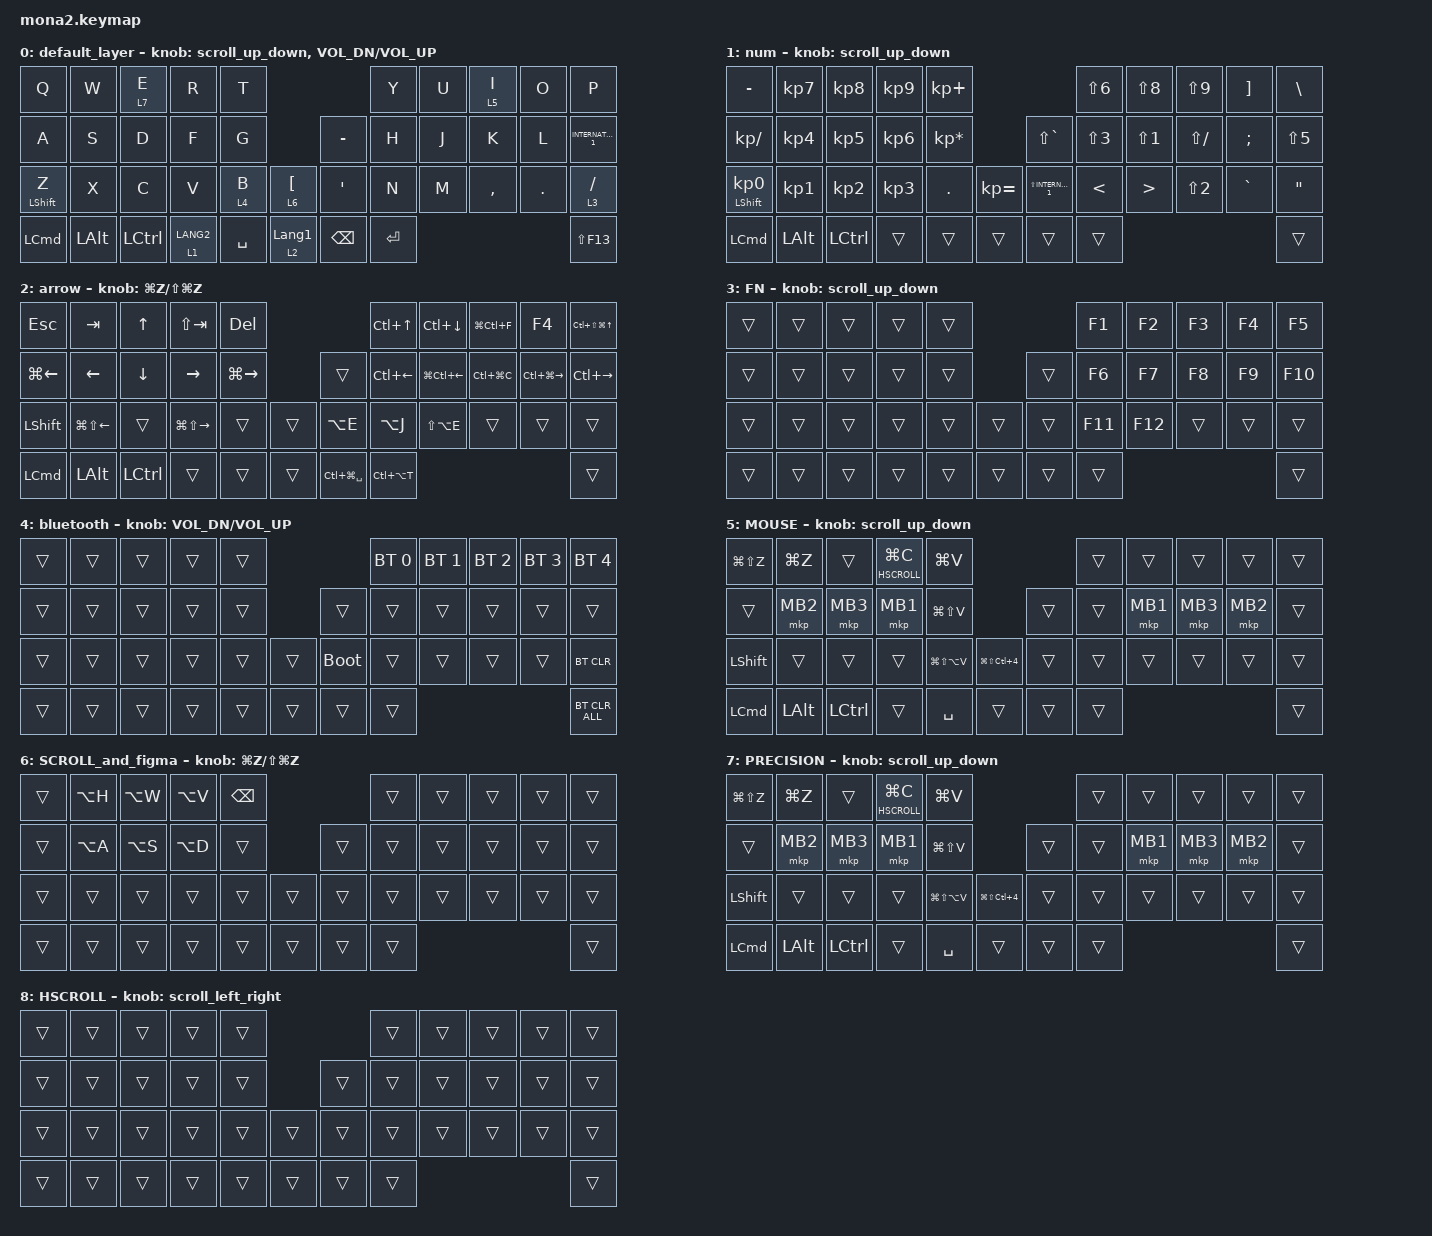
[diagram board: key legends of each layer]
#include <behaviors.dtsi>
#include <dt-bindings/zmk/bt.h>
#include <dt-bindings/zmk/keys.h>
#include <dt-bindings/zmk/pointing.h>

#define ZMK_POINTING_DEFAULT_SCRL_VAL 100
#define MOUSE 5
#define SCROLL 6
#define PRECISION 7
#define HSCROLL 8

&mt {
    flavor = "balanced";
    quick-tap-ms = <0>;
};

&lt {
    tapping-term-ms = <280>;
    flavor = "balanced";
    quick-tap-ms = <200>;
};

/ {
    combos { compatible = "zmk,combos"; };

    macros {
        to_layer_0: to_layer_0 {
            compatible = "zmk,behavior-macro-one-param";
            #binding-cells = <1>;
            bindings = <&to 0 &macro_param_1to1 &kp MACRO_PLACEHOLDER>;
            label = "TO_LAYER_0";
        };
    };

    behaviors {
        lt_to_layer_0: lt_to_layer_0 {
            compatible = "zmk,behavior-hold-tap";
            label = "LAYER_TAP_TO_0";
            bindings = <&mo>, <&to_layer_0>;

            #binding-cells = <2>;
            tapping-term-ms = <200>;
        };

        scroll_up_down: behavior_sensor_rotate_mouse_wheel_up_down {
            compatible = "zmk,behavior-sensor-rotate";
            #sensor-binding-cells = <0>;
            bindings = <&msc SCRL_DOWN>, <&msc SCRL_UP>;

            tap-ms = <20>;
        };

        scroll_left_right: behavior_sensor_rotate_mouse_wheel_left_right {
            compatible = "zmk,behavior-sensor-rotate";
            #sensor-binding-cells = <0>;
            bindings = <&msc SCRL_RIGHT>, <&msc SCRL_LEFT>;

            tap-ms = <20>;
        };
    };

    keymap {
        compatible = "zmk,keymap";

        default_layer {
            bindings = <
&kp Q             &kp W         &lt 7 E           &kp R        &kp T                                         &kp Y      &kp U  &lt 5 I    &kp O    &kp P
&kp A             &kp S         &kp D             &kp F        &kp G                          &kp MINUS      &kp H      &kp J  &kp K      &kp L    &kp INTERNATIONAL_1
&mt LEFT_SHIFT Z  &kp X         &kp C             &kp V        &lt 4 B    &lt 6 LBKT          &kp SQT        &kp N      &kp M  &kp COMMA  &kp DOT  &lt 3 SLASH
&kp LEFT_COMMAND  &kp LEFT_ALT  &kp LEFT_CONTROL  &lt 1 LANG2  &kp SPACE  &lt 2 LANGUAGE_1    &kp BACKSPACE  &kp ENTER                             &kp LS(F13)
            >;

            sensor-bindings =
                <&scroll_up_down>,
                <&inc_dec_kp C_VOL_DN C_VOL_UP>;
        };

        num {
            bindings = <
&kp MINUS                   &kp KP_NUMBER_7  &kp KP_NUMBER_8   &kp KP_NUMBER_9  &kp KP_PLUS                                               &kp LS(N6)     &kp LS(N8)        &kp LS(N9)     &kp RIGHT_BRACKET  &kp BACKSLASH
&kp KP_DIVIDE               &kp KP_NUMBER_4  &kp KP_NUMBER_5   &kp KP_NUMBER_6  &kp KP_MULTIPLY                  &kp LS(GRAVE)            &kp LS(N3)     &kp LS(N1)        &kp LS(SLASH)  &kp SEMICOLON      &kp LS(N5)
&mt LEFT_SHIFT KP_NUMBER_0  &kp KP_NUMBER_1  &kp KP_NUMBER_2   &kp KP_NUMBER_3  &kp PERIOD       &kp KP_EQUAL    &kp LS(INTERNATIONAL_1)  &kp LESS_THAN  &kp GREATER_THAN  &kp LS(N2)     &kp GRAVE          &kp DOUBLE_QUOTES
&kp LEFT_COMMAND            &kp LEFT_ALT     &kp LEFT_CONTROL  &trans           &trans           &trans          &trans                   &trans                                                             &trans
            >;

            sensor-bindings = <&scroll_up_down>;
        };

        arrow {
            bindings = <
&kp ESCAPE        &kp TAB                 &kp UP_ARROW      &kp LS(TAB)              &kp DEL                                     &kp LC(UP_ARROW)  &kp LC(DOWN_ARROW)  &kp LG(LC(F))  &kp F4             &kp LC(LS(LG(UP_ARROW)))
&kp LG(LEFT)      &kp LEFT_ARROW          &kp DOWN_ARROW    &kp RIGHT_ARROW          &kp LG(RIGHT)            &trans             &kp LC(LEFT)      &kp LG(LC(LEFT))    &kp LC(LG(C))  &kp LC(LG(RIGHT))  &kp LC(RIGHT)
&kp LEFT_SHIFT    &kp LG(LS(LEFT_ARROW))  &trans            &kp LG(LS(RIGHT_ARROW))  &trans         &trans    &kp LA(E)          &kp LA(J)         &kp LS(LA(E))       &trans         &trans             &trans
&kp LEFT_COMMAND  &kp LEFT_ALT            &kp LEFT_CONTROL  &trans                   &trans         &trans    &kp LC(LG(SPACE))  &kp LC(LA(T))                                                           &trans
            >;

            sensor-bindings = <&inc_dec_kp LG(Z) LS(LG(Z))>;
        };

        FN {
            bindings = <
&trans  &trans  &trans  &trans  &trans                    &kp F1   &kp F2   &kp F3  &kp F4  &kp F5
&trans  &trans  &trans  &trans  &trans            &trans  &kp F6   &kp F7   &kp F8  &kp F9  &kp F10
&trans  &trans  &trans  &trans  &trans  &trans    &trans  &kp F11  &kp F12  &trans  &trans  &trans
&trans  &trans  &trans  &trans  &trans  &trans    &trans  &trans                            &trans
            >;

            sensor-bindings = <&scroll_up_down>;
        };

        bluetooth {
            bindings = <
&trans  &trans  &trans  &trans  &trans                         &bt BT_SEL 0  &bt BT_SEL 1  &bt BT_SEL 2  &bt BT_SEL 3  &bt BT_SEL 4
&trans  &trans  &trans  &trans  &trans            &trans       &trans        &trans        &trans        &trans        &trans
&trans  &trans  &trans  &trans  &trans  &trans    &bootloader  &trans        &trans        &trans        &trans        &bt BT_CLR
&trans  &trans  &trans  &trans  &trans  &trans    &trans       &trans                                                  &bt BT_CLR_ALL
            >;

            sensor-bindings = <&inc_dec_kp C_VOL_DN C_VOLUME_UP>;
        };

        MOUSE {
            bindings = <
&kp LG(LS(Z))     &kp LG(Z)     &trans            &lt HSCROLL LG(C)  &kp LG(V)                                              &trans  &trans    &trans    &trans    &trans
&trans            &mkp MB2      &mkp MB3          &mkp MB1   &kp LG(LS(V))                                  &trans  &trans  &mkp MB1  &mkp MB3  &mkp MB2  &trans
&kp LEFT_SHIFT    &trans        &trans            &trans     &kp LG(LS(LA(V)))  &kp LG(LS(LC(NUMBER_4)))    &trans  &trans  &trans    &trans    &trans    &trans
&kp LEFT_COMMAND  &kp LEFT_ALT  &kp LEFT_CONTROL  &trans     &kp SPACE          &trans                      &trans  &trans                                &trans
            >;

            sensor-bindings = <&scroll_up_down>;
        };

        SCROLL_and_figma {
            bindings = <
&trans  &kp LA(H)  &kp LA(W)  &kp LA(V)  &kp BACKSPACE                    &trans  &trans  &trans  &trans  &trans
&trans  &kp LA(A)  &kp LA(S)  &kp LA(D)  &trans                   &trans  &trans  &trans  &trans  &trans  &trans
&trans  &trans     &trans     &trans     &trans         &trans    &trans  &trans  &trans  &trans  &trans  &trans
&trans  &trans     &trans     &trans     &trans         &trans    &trans  &trans                          &trans
            >;

            sensor-bindings = <&inc_dec_kp LG(Z) LS(LG(Z))>;
        };

        PRECISION {
            bindings = <
&kp LG(LS(Z))     &kp LG(Z)     &trans            &lt HSCROLL LG(C)  &kp LG(V)                                              &trans  &trans    &trans    &trans    &trans
&trans            &mkp MB2      &mkp MB3          &mkp MB1   &kp LG(LS(V))                                  &trans  &trans  &mkp MB1  &mkp MB3  &mkp MB2  &trans
&kp LEFT_SHIFT    &trans        &trans            &trans     &kp LG(LS(LA(V)))  &kp LG(LS(LC(NUMBER_4)))    &trans  &trans  &trans    &trans    &trans    &trans
&kp LEFT_COMMAND  &kp LEFT_ALT  &kp LEFT_CONTROL  &trans     &kp SPACE          &trans                      &trans  &trans                                &trans
            >;

            sensor-bindings = <&scroll_up_down>;
        };

        HSCROLL {
            bindings = <
&trans  &trans  &trans  &trans  &trans  &trans  &trans  &trans  &trans  &trans
&trans  &trans  &trans  &trans  &trans  &trans  &trans  &trans  &trans  &trans  &trans
&trans  &trans  &trans  &trans  &trans  &trans  &trans  &trans  &trans  &trans  &trans  &trans
&trans  &trans  &trans  &trans  &trans  &trans  &trans  &trans  &trans
            >;

            sensor-bindings = <&scroll_left_right>;
        };
    };
};
